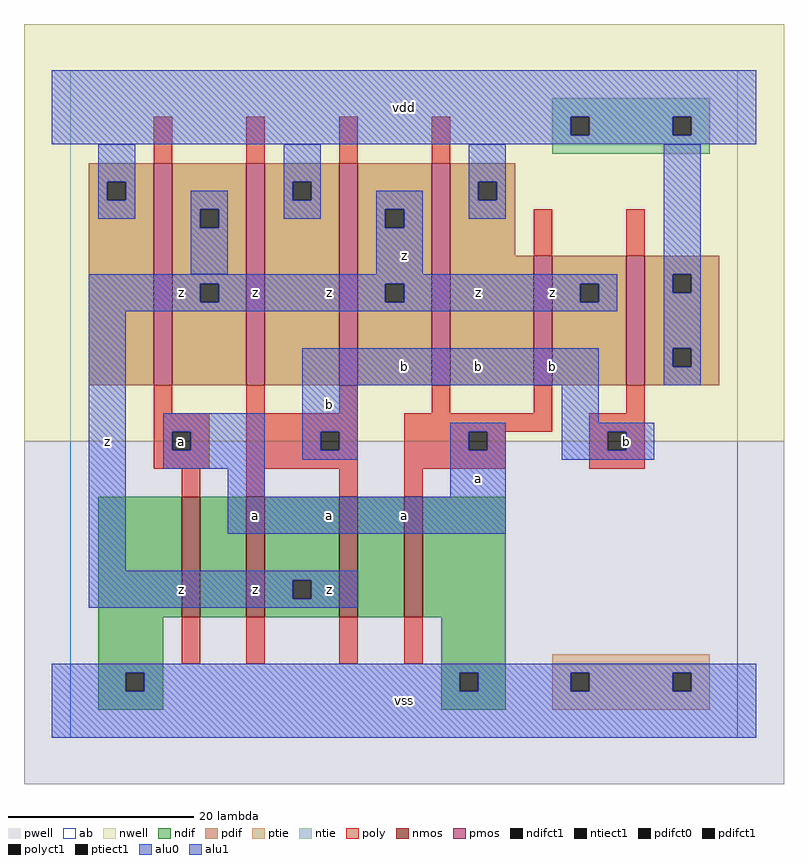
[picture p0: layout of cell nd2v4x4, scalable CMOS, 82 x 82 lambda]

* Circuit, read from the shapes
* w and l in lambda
.subckt nd2v4x4 a b vdd vss z
M1 n1 a vss vss nfet w=13 l=2
M2 z b n1 vss nfet w=13 l=2
M3 n2 b z vss nfet w=13 l=2
M4 vss a n2 vss nfet w=13 l=2
M5 z a vdd vdd pfet w=24 l=2 m=2
M6 vdd b z vdd pfet w=24 l=2 m=2
M7 z a vdd vdd pfet w=14 l=2
M8 vdd b z vdd pfet w=14 l=2
.ends

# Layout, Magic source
magic
tech scmos
<< ab >>
rect 0 0 72 72
<< nwell >>
rect -5 32 77 77
<< pwell >>
rect -5 -5 77 32
<< poly >>
rect 9 62 11 67
rect 19 62 21 67
rect 29 62 31 67
rect 39 62 41 67
rect 50 52 52 57
rect 60 52 62 57
rect 9 35 11 38
rect 19 35 21 38
rect 29 35 31 38
rect 39 35 41 38
rect 50 35 52 38
rect 60 35 62 38
rect 9 33 15 35
rect 9 31 11 33
rect 13 31 15 33
rect 9 29 15 31
rect 19 33 31 35
rect 19 31 27 33
rect 29 31 31 33
rect 19 29 31 31
rect 12 26 14 29
rect 19 26 21 29
rect 29 26 31 29
rect 36 33 52 35
rect 56 33 62 35
rect 36 31 43 33
rect 45 31 47 33
rect 36 29 47 31
rect 56 31 58 33
rect 60 31 62 33
rect 56 29 62 31
rect 36 26 38 29
rect 12 8 14 13
rect 19 8 21 13
rect 29 8 31 13
rect 36 8 38 13
<< ndif >>
rect 3 13 12 26
rect 14 13 19 26
rect 21 17 29 26
rect 21 15 24 17
rect 26 15 29 17
rect 21 13 29 15
rect 31 13 36 26
rect 38 13 47 26
rect 3 7 10 13
rect 3 5 6 7
rect 8 5 10 7
rect 3 3 10 5
rect 40 7 47 13
rect 40 5 42 7
rect 44 5 47 7
rect 40 3 47 5
<< pdif >>
rect 2 60 9 62
rect 2 58 4 60
rect 6 58 9 60
rect 2 38 9 58
rect 11 57 19 62
rect 11 55 14 57
rect 16 55 19 57
rect 11 49 19 55
rect 11 47 14 49
rect 16 47 19 49
rect 11 38 19 47
rect 21 60 29 62
rect 21 58 24 60
rect 26 58 29 60
rect 21 38 29 58
rect 31 57 39 62
rect 31 55 34 57
rect 36 55 39 57
rect 31 49 39 55
rect 31 47 34 49
rect 36 47 39 49
rect 31 38 39 47
rect 41 60 48 62
rect 41 58 44 60
rect 46 58 48 60
rect 41 52 48 58
rect 41 38 50 52
rect 52 49 60 52
rect 52 47 55 49
rect 57 47 60 49
rect 52 38 60 47
rect 62 50 70 52
rect 62 48 65 50
rect 67 48 70 50
rect 62 42 70 48
rect 62 40 65 42
rect 67 40 70 42
rect 62 38 70 40
<< alu1 >>
rect -2 67 74 72
rect -2 65 54 67
rect 56 65 65 67
rect 67 65 74 67
rect -2 64 74 65
rect 33 57 38 59
rect 33 55 34 57
rect 36 55 38 57
rect 33 50 38 55
rect 2 49 59 50
rect 2 47 14 49
rect 16 47 34 49
rect 36 47 55 49
rect 57 47 59 49
rect 2 46 59 47
rect 2 18 6 46
rect 25 38 57 42
rect 10 33 21 35
rect 10 31 11 33
rect 13 31 21 33
rect 10 29 21 31
rect 25 33 31 38
rect 53 34 57 38
rect 25 31 27 33
rect 29 31 31 33
rect 25 30 31 31
rect 41 33 47 34
rect 41 31 43 33
rect 45 31 47 33
rect 17 26 21 29
rect 41 26 47 31
rect 53 33 63 34
rect 53 31 58 33
rect 60 31 63 33
rect 53 30 63 31
rect 17 22 47 26
rect 2 17 31 18
rect 2 15 24 17
rect 26 15 31 17
rect 2 14 31 15
rect -2 7 74 8
rect -2 5 6 7
rect 8 5 42 7
rect 44 5 54 7
rect 56 5 65 7
rect 67 5 74 7
rect -2 0 74 5
<< ptie >>
rect 52 7 69 9
rect 52 5 54 7
rect 56 5 65 7
rect 67 5 69 7
rect 52 3 69 5
<< ntie >>
rect 52 67 69 69
rect 52 65 54 67
rect 56 65 65 67
rect 67 65 69 67
rect 52 63 69 65
<< nmos >>
rect 12 13 14 26
rect 19 13 21 26
rect 29 13 31 26
rect 36 13 38 26
<< pmos >>
rect 9 38 11 62
rect 19 38 21 62
rect 29 38 31 62
rect 39 38 41 62
rect 50 38 52 52
rect 60 38 62 52
<< polyct1 >>
rect 11 31 13 33
rect 27 31 29 33
rect 43 31 45 33
rect 58 31 60 33
<< ndifct1 >>
rect 24 15 26 17
rect 6 5 8 7
rect 42 5 44 7
<< ntiect1 >>
rect 54 65 56 67
rect 65 65 67 67
<< ptiect1 >>
rect 54 5 56 7
rect 65 5 67 7
<< pdifct0 >>
rect 4 58 6 60
rect 14 55 16 57
rect 24 58 26 60
rect 44 58 46 60
rect 65 48 67 50
rect 65 40 67 42
<< pdifct1 >>
rect 14 47 16 49
rect 34 55 36 57
rect 34 47 36 49
rect 55 47 57 49
<< alu0 >>
rect 3 60 7 64
rect 3 58 4 60
rect 6 58 7 60
rect 23 60 27 64
rect 3 56 7 58
rect 13 57 17 59
rect 13 55 14 57
rect 16 55 17 57
rect 23 58 24 60
rect 26 58 27 60
rect 43 60 47 64
rect 23 56 27 58
rect 13 50 17 55
rect 43 58 44 60
rect 46 58 47 60
rect 43 56 47 58
rect 64 50 68 64
rect 64 48 65 50
rect 67 48 68 50
rect 64 42 68 48
rect 64 40 65 42
rect 67 40 68 42
rect 64 38 68 40
<< labels >>
rlabel alu1 12 16 12 16 6 z
rlabel polyct1 12 32 12 32 6 a
rlabel alu1 4 32 4 32 6 z
rlabel alu1 12 48 12 48 6 z
rlabel alu1 28 16 28 16 6 z
rlabel alu1 20 16 20 16 6 z
rlabel alu1 20 24 20 24 6 a
rlabel alu1 28 24 28 24 6 a
rlabel alu1 28 36 28 36 6 b
rlabel alu1 20 48 20 48 6 z
rlabel alu1 28 48 28 48 6 z
rlabel alu1 36 4 36 4 6 vss
rlabel alu1 36 24 36 24 6 a
rlabel alu1 44 28 44 28 6 a
rlabel alu1 44 40 44 40 6 b
rlabel alu1 52 40 52 40 6 b
rlabel alu1 36 40 36 40 6 b
rlabel alu1 36 52 36 52 6 z
rlabel alu1 52 48 52 48 6 z
rlabel alu1 44 48 44 48 6 z
rlabel alu1 36 68 36 68 6 vdd
rlabel alu1 60 32 60 32 6 b
<< end >>
